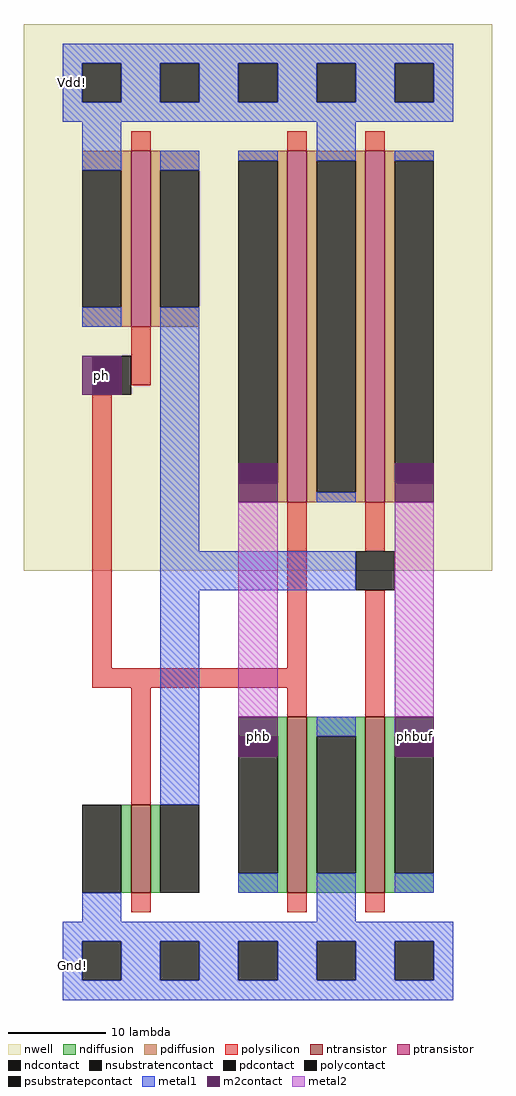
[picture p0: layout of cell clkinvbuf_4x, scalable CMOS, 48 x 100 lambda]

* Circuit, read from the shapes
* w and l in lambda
.subckt clkinvbuf_4x Gnd! Vdd! ph phb phbuf
M1 n1 ph Gnd! Gnd! nfet w=9 l=2
M2 Gnd! ph phb Gnd! nfet w=18 l=2
M3 phbuf n1 Gnd! Gnd! nfet w=18 l=2
M4 n1 ph Vdd! Vdd! pfet w=18 l=2
M5 Vdd! ph phb Vdd! pfet w=36 l=2
M6 phbuf n1 Vdd! Vdd! pfet w=36 l=2
.ends

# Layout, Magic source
magic
tech scmos
<< nwell >>
rect -6 40 42 96
<< ntransistor >>
rect 5 7 7 16
rect 21 7 23 25
rect 29 7 31 25
<< ptransistor >>
rect 5 65 7 83
rect 21 47 23 83
rect 29 47 31 83
<< ndiffusion >>
rect 16 23 21 25
rect 4 7 5 16
rect 7 7 8 16
rect 20 9 21 23
rect 16 7 21 9
rect 23 23 29 25
rect 23 9 24 23
rect 28 9 29 23
rect 23 7 29 9
rect 31 23 36 25
rect 31 9 32 23
rect 31 7 36 9
<< pdiffusion >>
rect 0 81 5 83
rect 4 67 5 81
rect 0 65 5 67
rect 7 81 12 83
rect 7 67 8 81
rect 7 65 12 67
rect 16 82 21 83
rect 20 49 21 82
rect 16 47 21 49
rect 23 82 29 83
rect 23 48 24 82
rect 28 48 29 82
rect 23 47 29 48
rect 31 82 36 83
rect 31 49 32 82
rect 31 47 36 49
<< ndcontact >>
rect 0 7 4 16
rect 8 7 12 16
rect 16 9 20 23
rect 24 9 28 23
rect 32 9 36 23
<< pdcontact >>
rect 0 67 4 81
rect 8 67 12 81
rect 16 49 20 82
rect 24 48 28 82
rect 32 49 36 82
<< psubstratepcontact >>
rect 0 -2 4 2
rect 8 -2 12 2
rect 16 -2 20 2
rect 24 -2 28 2
rect 32 -2 36 2
<< nsubstratencontact >>
rect 0 88 4 92
rect 8 88 12 92
rect 16 88 20 92
rect 24 88 28 92
rect 32 88 36 92
<< polysilicon >>
rect 5 83 7 85
rect 21 83 23 85
rect 29 83 31 85
rect 5 59 7 65
rect 1 30 3 58
rect 21 30 23 47
rect 29 42 31 47
rect 1 28 23 30
rect 5 16 7 28
rect 21 25 23 28
rect 29 25 31 38
rect 5 5 7 7
rect 21 5 23 7
rect 29 5 31 7
<< polycontact >>
rect 1 58 5 62
rect 28 38 32 42
<< metal1 >>
rect -2 92 38 94
rect -2 88 0 92
rect 4 88 8 92
rect 12 88 16 92
rect 20 88 24 92
rect 28 88 32 92
rect 36 88 38 92
rect -2 86 38 88
rect 0 81 4 86
rect 0 65 4 67
rect 8 81 12 83
rect 8 42 12 67
rect 16 82 20 83
rect 24 82 28 86
rect 24 47 28 48
rect 32 82 36 83
rect 8 38 28 42
rect 8 16 12 38
rect 16 7 20 9
rect 24 23 28 25
rect 0 4 4 7
rect 24 4 28 9
rect 32 7 36 9
rect -2 2 38 4
rect -2 -2 0 2
rect 4 -2 8 2
rect 12 -2 16 2
rect 20 -2 24 2
rect 28 -2 32 2
rect 36 -2 38 2
rect -2 -4 38 -2
<< m2contact >>
rect 0 58 1 62
rect 1 58 4 62
rect 16 49 20 51
rect 16 47 20 49
rect 32 49 36 51
rect 32 47 36 49
rect 16 23 20 25
rect 16 21 20 23
rect 32 23 36 25
rect 32 21 36 23
<< metal2 >>
rect 16 25 20 47
rect 32 25 36 47
<< labels >>
rlabel m2contact 2 60 2 60 1 ph
rlabel m2contact 18 23 18 23 1 phb
rlabel m2contact 34 23 34 23 1 phbuf
rlabel metal1 -1 -1 -1 0 2 Gnd!
rlabel metal1 -1 90 -1 90 3 Vdd!
<< end >>
